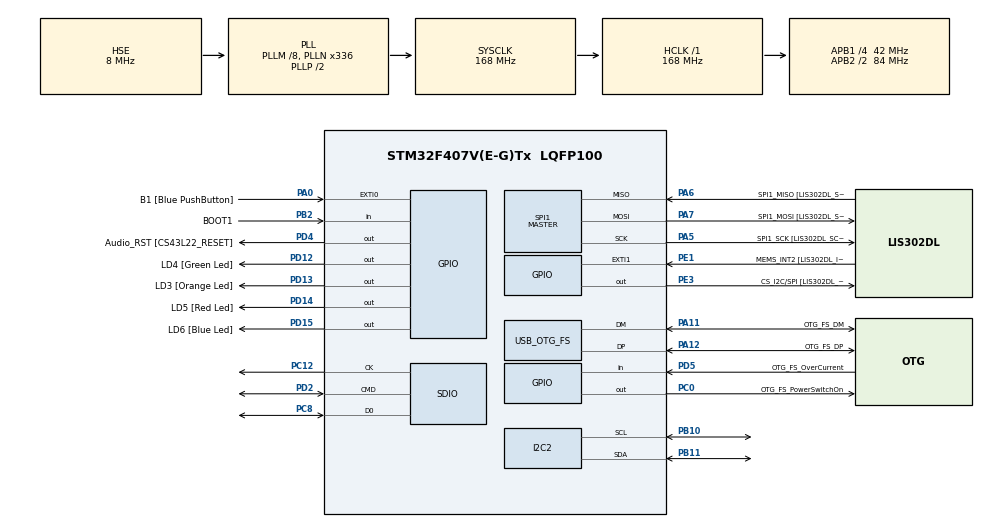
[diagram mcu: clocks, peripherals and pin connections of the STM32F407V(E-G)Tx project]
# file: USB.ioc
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Dma.Request0=SDIO_TX
Dma.Request1=SDIO_RX
Dma.SDIO_RX.1.Direction=DMA_PERIPH_TO_MEMORY
Dma.SDIO_RX.1.FIFOMode=DMA_FIFOMODE_ENABLE
Dma.SDIO_RX.1.FIFOThreshold=DMA_FIFO_THRESHOLD_FULL
Dma.SDIO_RX.1.Instance=DMA2_Stream6
Dma.SDIO_RX.1.MemBurst=DMA_MBURST_INC4
Dma.SDIO_RX.1.MemDataAlignment=DMA_MDATAALIGN_WORD
Dma.SDIO_RX.1.MemInc=DMA_MINC_ENABLE
Dma.SDIO_RX.1.Mode=DMA_PFCTRL
Dma.SDIO_RX.1.PeriphBurst=DMA_PBURST_INC4
Dma.SDIO_RX.1.PeriphDataAlignment=DMA_PDATAALIGN_WORD
Dma.SDIO_RX.1.PeriphInc=DMA_PINC_DISABLE
Dma.SDIO_RX.1.Priority=DMA_PRIORITY_LOW
Dma.SDIO_TX.0.Direction=DMA_MEMORY_TO_PERIPH
Dma.SDIO_TX.0.FIFOMode=DMA_FIFOMODE_ENABLE
Dma.SDIO_TX.0.FIFOThreshold=DMA_FIFO_THRESHOLD_FULL
Dma.SDIO_TX.0.Instance=DMA2_Stream3
Dma.SDIO_TX.0.MemBurst=DMA_MBURST_INC4
Dma.SDIO_TX.0.MemDataAlignment=DMA_MDATAALIGN_WORD
Dma.SDIO_TX.0.MemInc=DMA_MINC_ENABLE
Dma.SDIO_TX.0.Mode=DMA_PFCTRL
Dma.SDIO_TX.0.PeriphBurst=DMA_PBURST_INC4
Dma.SDIO_TX.0.PeriphDataAlignment=DMA_PDATAALIGN_WORD
Dma.SDIO_TX.0.PeriphInc=DMA_PINC_DISABLE
Dma.SDIO_TX.0.Priority=DMA_PRIORITY_LOW
FATFS.BSP.number=1
FATFS._USE_LFN=3
FATFS0.BSP.STBoard=false
FATFS0.BSP.api=Unknown
FATFS0.BSP.instance=PB2
FATFS0.BSP.ip=GPIO
FATFS0.BSP.mode=Input
FATFS0.BSP.name=Detect_SDIO
FATFS0.BSP.solution=PB2
FREERTOS.INCLUDE_eTaskGetState=1
FREERTOS.Tasks01=defaultTask,0,128,StartDefaultTask,Default,NULL,Dynamic,NULL,NULL;Green_LED_Task,0,128,LEDTask_LD4,Default,NULL,Dynamic,NULL,NULL;Blue_LED_Task,0,128,LEDTask_LD6,Default,NULL,Dynamic,NULL,NULL;Red_LED_Task,0,128,LEDTask_LD5,Default,NULL,Dynamic,NULL,NULL;Orange_LED_Task,0,128,LEDTask_LD3,Default,NULL,Dynamic,NULL,NULL;printTask,0,128,printTask_func,Default,NULL,Dynamic,NULL,NULL;eepromTask,0,128,eepromTask_func,Default,NULL,Dynamic,NULL,NULL
FREERTOS.configUSE_NEWLIB_REENTRANT=1
I2C2.I2C_Mode=I2C_Fast
Mcu.Family=STM32F4
Mcu.Name=STM32F407V(E-G)Tx
Mcu.Package=LQFP100
NVIC.DMA2_Stream3_IRQn=true\:5\:0\:false\:false\:true\:true\:false\:true\:true
NVIC.DMA2_Stream6_IRQn=true\:5\:0\:false\:false\:true\:true\:false\:true\:true
NVIC.EXTI0_IRQn=true\:0\:0\:false\:false\:true\:false\:true\:true\:true
NVIC.OTG_FS_IRQn=true\:5\:0\:false\:false\:true\:true\:true\:true\:true
NVIC.PriorityGroup=NVIC_PRIORITYGROUP_4
NVIC.SDIO_IRQn=true\:5\:0\:false\:false\:true\:true\:true\:true\:true
NVIC.TIM1_UP_TIM10_IRQn=true\:15\:0\:false\:false\:true\:false\:false\:true\:true
NVIC.TimeBase=TIM1_UP_TIM10_IRQn
NVIC.TimeBaseIP=TIM1
PA0-WKUP.GPIO_Label=B1 [Blue PushButton]
PA0-WKUP.GPIO_ModeDefaultEXTI=GPIO_MODE_IT_RISING
PA0-WKUP.GPIO_PuPd=GPIO_NOPULL
PA0-WKUP.Signal=GPXTI0
PA10.GPIO_Label=OTG_FS_ID
PA10.GPIO_Mode=GPIO_MODE_AF_PP
PA10.GPIO_PuPd=GPIO_NOPULL
PA10.GPIO_Speed=GPIO_SPEED_FREQ_LOW
PA10.Signal=USB_OTG_FS_ID
PA11.GPIO_Label=OTG_FS_DM
PA11.GPIO_Mode=GPIO_MODE_AF_PP
PA11.GPIO_PuPd=GPIO_NOPULL
PA11.GPIO_Speed=GPIO_SPEED_FREQ_LOW
PA11.Mode=Device_Only
PA11.Signal=USB_OTG_FS_DM
PA12.GPIO_Label=OTG_FS_DP
PA12.GPIO_Mode=GPIO_MODE_AF_PP
PA12.GPIO_PuPd=GPIO_NOPULL
PA12.GPIO_Speed=GPIO_SPEED_FREQ_LOW
PA12.Mode=Device_Only
PA12.Signal=USB_OTG_FS_DP
PA13.GPIO_Label=SWDIO
PA13.Mode=Serial_Wire
PA13.Signal=SYS_JTMS-SWDIO
PA14.GPIO_Label=SWCLK
PA14.Mode=Serial_Wire
PA14.Signal=SYS_JTCK-SWCLK
PA4.GPIO_Label=I2S3_WS [CS43L22_LRCK]
PA4.GPIO_Mode=GPIO_MODE_AF_PP
PA4.GPIO_PuPd=GPIO_NOPULL
PA4.GPIO_Speed=GPIO_SPEED_FREQ_LOW
PA4.Signal=I2S3_WS
PA5.GPIO_Label=SPI1_SCK [LIS302DL_SCL/SPC]
PA5.GPIO_Mode=GPIO_MODE_AF_PP
PA5.GPIO_PuPd=GPIO_NOPULL
PA5.GPIO_Speed=GPIO_SPEED_FREQ_LOW
PA5.Mode=Full_Duplex_Master
PA5.Signal=SPI1_SCK
PA6.GPIO_Label=SPI1_MISO [LIS302DL_SDO]
PA6.GPIO_Mode=GPIO_MODE_AF_PP
PA6.GPIO_PuPd=GPIO_NOPULL
PA6.GPIO_Speed=GPIO_SPEED_FREQ_LOW
PA6.Mode=Full_Duplex_Master
PA6.Signal=SPI1_MISO
PA7.GPIO_Label=SPI1_MOSI [LIS302DL_SDA/SDI/SDO]
PA7.GPIO_Mode=GPIO_MODE_AF_PP
PA7.GPIO_PuPd=GPIO_NOPULL
PA7.GPIO_Speed=GPIO_SPEED_FREQ_LOW
PA7.Mode=Full_Duplex_Master
PA7.Signal=SPI1_MOSI
PA9.GPIO_Label=VBUS_FS
PA9.GPIO_Mode=GPIO_MODE_INPUT
PA9.GPIO_PuPd=GPIO_NOPULL
PA9.Signal=USB_OTG_FS_VBUS
PB10.Mode=I2C
PB10.Signal=I2C2_SCL
PB11.Mode=I2C
PB11.Signal=I2C2_SDA
PB2.GPIO_Label=BOOT1
PB2.GPIO_Mode=GPIO_MODE_INPUT
PB2.GPIO_PuPd=GPIO_NOPULL
PB2.Signal=GPIO_Input
PB3.GPIO_Label=SWO
PB3.Signal=SYS_JTDO-SWO
PB6.GPIO_Label=Audio_SCL [CS43L22_SCL]
PB6.GPIO_Mode=GPIO_MODE_AF_OD
PB6.GPIO_Pu=GPIO_NOPULL
PB6.GPIO_PuPd=GPIO_NOPULL
PB6.GPIO_Speed=GPIO_SPEED_FREQ_LOW
PB6.Signal=I2C1_SCL
PB9.Signal=SDIO_D5
PC0.GPIO_Label=OTG_FS_PowerSwitchOn
PC0.GPIO_PuPd=GPIO_NOPULL
PC0.GPIO_Speed=GPIO_SPEED_FREQ_LOW
PC0.PinState=GPIO_PIN_SET
PC0.Signal=GPIO_Output
PC10.Signal=SDIO_D2
PC12.Mode=SD_1_bit
PC12.Signal=SDIO_CK
PC14-OSC32_IN.GPIO_Label=PC14-OSC32_IN
PC14-OSC32_IN.Signal=RCC_OSC32_IN
PC15-OSC32_OUT.GPIO_Label=PC15-OSC32_OUT
PC15-OSC32_OUT.Signal=RCC_OSC32_OUT
PC3.GPIO_Label=PDM_OUT [MP45DT02_DOUT]
PC3.GPIO_Mode=GPIO_MODE_AF_PP
PC3.GPIO_PuPd=GPIO_NOPULL
PC3.GPIO_Speed=GPIO_SPEED_FREQ_LOW
PC3.Signal=I2S2_SD
PC7.Signal=SDIO_D7
PC8.Mode=SD_1_bit
PC8.Signal=SDIO_D0
PD12.GPIO_Label=LD4 [Green Led]
PD12.GPIO_PuPd=GPIO_NOPULL
PD12.GPIO_Speed=GPIO_SPEED_FREQ_LOW
PD12.Signal=GPIO_Output
PD13.GPIO_Label=LD3 [Orange Led]
PD13.GPIO_PuPd=GPIO_NOPULL
PD13.GPIO_Speed=GPIO_SPEED_FREQ_LOW
PD13.Signal=GPIO_Output
PD14.GPIO_Label=LD5 [Red Led]
PD14.GPIO_PuPd=GPIO_NOPULL
PD14.GPIO_Speed=GPIO_SPEED_FREQ_LOW
PD14.Signal=GPIO_Output
PD15.GPIO_Label=LD6 [Blue Led]
PD15.GPIO_PuPd=GPIO_NOPULL
PD15.GPIO_Speed=GPIO_SPEED_FREQ_LOW
PD15.Signal=GPIO_Output
PD2.Mode=SD_1_bit
PD2.Signal=SDIO_CMD
PD4.GPIO_Label=Audio_RST [CS43L22_RESET]
PD4.GPIO_PuPd=GPIO_NOPULL
PD4.GPIO_Speed=GPIO_SPEED_FREQ_LOW
PD4.Signal=GPIO_Output
PD5.GPIO_Label=OTG_FS_OverCurrent
PD5.GPIO_Mode=GPIO_MODE_INPUT
PD5.GPIO_PuPd=GPIO_NOPULL
PD5.Signal=GPIO_Input
PE1.GPIO_Label=MEMS_INT2 [LIS302DL_INT2]
PE1.GPIO_ModeDefaultEXTI=GPIO_MODE_EVT_RISING
PE1.GPIO_PuPd=GPIO_NOPULL
PE1.Signal=GPXTI1
PE3.GPIO_Label=CS_I2C/SPI [LIS302DL_CS_I2C/SPI]
PE3.GPIO_PuPd=GPIO_NOPULL
PE3.GPIO_Speed=GPIO_SPEED_FREQ_LOW
PE3.Signal=GPIO_Output
PH0-OSC_IN.GPIO_Label=PH0-OSC_IN
PH0-OSC_IN.Mode=HSE-External-Oscillator
PH0-OSC_IN.Signal=RCC_OSC_IN
PH1-OSC_OUT.GPIO_Label=PH1-OSC_OUT
PH1-OSC_OUT.Mode=HSE-External-Oscillator
PH1-OSC_OUT.Signal=RCC_OSC_OUT
ProjectManager.HeapSize=0x200
ProjectManager.StackSize=0x400
ProjectManager.TargetToolchain=STM32CubeIDE
RCC.48MHZClocksFreq_Value=48000000
RCC.AHBFreq_Value=168000000
RCC.APB1CLKDivider=RCC_HCLK_DIV4
RCC.APB1Freq_Value=42000000
RCC.APB1TimFreq_Value=84000000
RCC.APB2CLKDivider=RCC_HCLK_DIV2
RCC.APB2Freq_Value=84000000
RCC.APB2TimFreq_Value=168000000
RCC.CortexFreq_Value=168000000
RCC.HCLKFreq_Value=168000000
RCC.HSE_VALUE=8000000
RCC.HSI_VALUE=16000000
RCC.LSE_VALUE=32768
RCC.PLLM=8
RCC.PLLN=336
RCC.PLLQ=7
RCC.SYSCLKFreq_VALUE=168000000
RCC.SYSCLKSource=RCC_SYSCLKSOURCE_PLLCLK
RCC.VCOOutputFreq_Value=336000000
SPI1.BaudRatePrescaler-Full_Duplex_Master=SPI_BAUDRATEPRESCALER_2
SPI1.CalculateBaudRate-Full_Duplex_Master=42.0 MBits/s
SPI1.Direction=SPI_DIRECTION_2LINES
SPI1.Mode=SPI_MODE_MASTER
SPI1.Mode-Full_Duplex_Master=SPI_MODE_MASTER
SPI1.VirtualType=VM_MASTER
USB_DEVICE.CLASS_NAME_FS=CDC
USB_DEVICE.VirtualMode-CDC_FS=Cdc
USB_DEVICE.VirtualModeFS=Cdc_FS
USB_OTG_FS.VirtualMode=Device_Only
VP_FATFS_VS_SDIO.Mode=SDIO
VP_FREERTOS_VS_CMSIS_V1.Mode=CMSIS_V1
VP_RNG_VS_RNG.Mode=RNG_Activate
VP_SYS_VS_tim1.Mode=TIM1
VP_USB_DEVICE_VS_USB_DEVICE_CDC_FS.Mode=CDC_FS
board=STM32F407G-DISC1

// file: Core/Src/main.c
/* USER CODE BEGIN Header */
/**
  ******************************************************************************
  * @file           : main.c
  * @brief          : Main program body
  ******************************************************************************
  * @attention
  *
  * Copyright (c) 2023 STMicroelectronics.
  * All rights reserved.
  *
  * This software is licensed under terms that can be found in the LICENSE file
  * in the root directory of this software component.
  * If no LICENSE file comes with this software, it is provided AS-IS.
  *
  ******************************************************************************
  */
/* USER CODE END Header */
#include "main.h"
#include "cmsis_os.h"
#include "dma.h"
#include "fatfs.h"
#include "i2c.h"
#include "rng.h"
#include "sdio.h"
#include "spi.h"
#include "usb_device.h"
#include "gpio.h"

/* USER CODE BEGIN Includes */
#include "usbd_cdc_if.h"
#include "MyQueue.h"
/* USER CODE END Includes */

/* USER CODE BEGIN PV */
uint8_t		b1_pushed;
SYS_TIME	m_SysTimer;
/* USER CODE END PV */

void SystemClock_Config(void);
void MX_FREERTOS_Init(void);

int main(void)
{

  /* MCU Configuration--------------------------------------------------------*/

  /* Reset of all peripherals, Initializes the Flash interface and the Systick. */
  HAL_Init();

  /* Configure the system clock */
  SystemClock_Config();

  /* Initialize all configured peripherals */
  MX_GPIO_Init();
  MX_DMA_Init();
  MX_SPI1_Init();
  MX_RNG_Init();
  MX_SDIO_SD_Init();
  MX_FATFS_Init();
  MX_I2C2_Init();

  /* Call init function for freertos objects (in freertos.c) */
  MX_FREERTOS_Init();

  /* Start scheduler */
  osKernelStart();
  /* We should never get here as control is now taken by the scheduler */
  /* Infinite loop */
  while (1)
  {

  }
}

void SystemClock_Config(void)
{
  RCC_OscInitTypeDef RCC_OscInitStruct = {0};
  RCC_ClkInitTypeDef RCC_ClkInitStruct = {0};

  /** Configure the main internal regulator output voltage
  */
  __HAL_RCC_PWR_CLK_ENABLE();
  __HAL_PWR_VOLTAGESCALING_CONFIG(PWR_REGULATOR_VOLTAGE_SCALE1);

  /** Initializes the RCC Oscillators according to the specified parameters
  * in the RCC_OscInitTypeDef structure.
  */
  RCC_OscInitStruct.OscillatorType = RCC_OSCILLATORTYPE_HSE;
  RCC_OscInitStruct.HSEState = RCC_HSE_ON;
  RCC_OscInitStruct.PLL.PLLState = RCC_PLL_ON;
  RCC_OscInitStruct.PLL.PLLSource = RCC_PLLSOURCE_HSE;
  RCC_OscInitStruct.PLL.PLLM = 8;
  RCC_OscInitStruct.PLL.PLLN = 336;
  RCC_OscInitStruct.PLL.PLLP = RCC_PLLP_DIV2;
  RCC_OscInitStruct.PLL.PLLQ = 7;
  if (HAL_RCC_OscConfig(&RCC_OscInitStruct) != HAL_OK)
  {
    Error_Handler();
  }

  /** Initializes the CPU, AHB and APB buses clocks
  */
  RCC_ClkInitStruct.ClockType = RCC_CLOCKTYPE_HCLK|RCC_CLOCKTYPE_SYSCLK
                              |RCC_CLOCKTYPE_PCLK1|RCC_CLOCKTYPE_PCLK2;
  RCC_ClkInitStruct.SYSCLKSource = RCC_SYSCLKSOURCE_PLLCLK;
  RCC_ClkInitStruct.AHBCLKDivider = RCC_SYSCLK_DIV1;
  RCC_ClkInitStruct.APB1CLKDivider = RCC_HCLK_DIV4;
  RCC_ClkInitStruct.APB2CLKDivider = RCC_HCLK_DIV2;

  if (HAL_RCC_ClockConfig(&RCC_ClkInitStruct, FLASH_LATENCY_5) != HAL_OK)
  {
    Error_Handler();
  }
}

/* USER CODE BEGIN 4 */
void HAL_GPIO_EXTI_Callback(uint16_t GPIO_Pin)
{
	if( GPIO_Pin == B1_Pin )
	{
		b1_pushed = 1;
	}
}

void inc_execution_time(SYS_TIME* pTime)
{
	pTime->MSEC++;

	if( pTime->MSEC >= 1000 )
	{
		pTime->MSEC -= 1000;
		pTime->SEC++;
	}

	if( pTime->SEC >= 60 )
	{
		pTime->SEC -= 60;
		pTime->MIN++;
	}

	if( pTime->MIN >= 60 )
	{
		pTime->MIN -= 60;
		pTime->HOUR++;
	}

	if( pTime->HOUR >= 24 )
	{
		pTime->HOUR -= 24;
		pTime->DAY++;
	}
}
/* USER CODE END 4 */

void HAL_TIM_PeriodElapsedCallback(TIM_HandleTypeDef *htim)
{
  if (htim->Instance == TIM1) {
    HAL_IncTick();
  }
  /* USER CODE BEGIN Callback 1 */
  inc_execution_time(&m_SysTimer);
  /* USER CODE END Callback 1 */
}

void Error_Handler(void)
{
  __disable_irq();
  while (1)
  {
  }
}

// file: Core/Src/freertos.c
/* USER CODE BEGIN Header */
/**
  ******************************************************************************
  * File Name          : freertos.c
  * Description        : Code for freertos applications
  ******************************************************************************
  * @attention
  *
  * Copyright (c) 2023 STMicroelectronics.
  * All rights reserved.
  *
  * This software is licensed under terms that can be found in the LICENSE file
  * in the root directory of this software component.
  * If no LICENSE file comes with this software, it is provided AS-IS.
  *
  ******************************************************************************
  */
/* USER CODE END Header */

#include "FreeRTOS.h"
#include "task.h"
#include "main.h"
#include "cmsis_os.h"

/* USER CODE BEGIN Includes */
#include "usbd_cdc_if.h"
#include "i2c.h"
#include "rng.h"
#include "fatfs.h"
/* USER CODE END Includes */

/* USER CODE BEGIN PD */
#define	EEPROM_TEST_DATA_LEN	10
#define I2C_TIMEOUT_VALUE		10
/* USER CODE END PD */

/* USER CODE BEGIN PM */
#define	get_os_random_delay_time(MAX_DELAY)	(HAL_RNG_GetRandomNumber(&hrng)%(MAX_DELAY))
/* USER CODE END PM */

osThreadId defaultTaskHandle;
osThreadId Green_LED_TaskHandle;
osThreadId Blue_LED_TaskHandle;
osThreadId Red_LED_TaskHandle;
osThreadId Orange_LED_TaskHandle;
osThreadId printTaskHandle;
osThreadId eepromTaskHandle;

void StartDefaultTask(void const * argument);
void LEDTask_LD4(void const * argument);
void LEDTask_LD6(void const * argument);
void LEDTask_LD5(void const * argument);
void LEDTask_LD3(void const * argument);
void printTask_func(void const * argument);
void eepromTask_func(void const * argument);

extern void MX_USB_DEVICE_Init(void);
void MX_FREERTOS_Init(void); /* (MISRA C 2004 rule 8.1) */

/* GetIdleTaskMemory prototype (linked to static allocation support) */
void vApplicationGetIdleTaskMemory( StaticTask_t **ppxIdleTaskTCBBuffer, StackType_t **ppxIdleTaskStackBuffer, uint32_t *pulIdleTaskStackSize );

/* USER CODE BEGIN GET_IDLE_TASK_MEMORY */
static StaticTask_t xIdleTaskTCBBuffer;
static StackType_t xIdleStack[configMINIMAL_STACK_SIZE];

void vApplicationGetIdleTaskMemory( StaticTask_t **ppxIdleTaskTCBBuffer, StackType_t **ppxIdleTaskStackBuffer, uint32_t *pulIdleTaskStackSize )
{
  *ppxIdleTaskTCBBuffer = &xIdleTaskTCBBuffer;
  *ppxIdleTaskStackBuffer = &xIdleStack[0];
  *pulIdleTaskStackSize = configMINIMAL_STACK_SIZE;
  /* place for user code */
}
/* USER CODE END GET_IDLE_TASK_MEMORY */

void MX_FREERTOS_Init(void) {

  /* Create the thread(s) */
  /* definition and creation of defaultTask */
  osThreadDef(defaultTask, StartDefaultTask, osPriorityNormal, 0, 128);
  defaultTaskHandle = osThreadCreate(osThread(defaultTask), NULL);

  /* definition and creation of Green_LED_Task */
  osThreadDef(Green_LED_Task, LEDTask_LD4, osPriorityNormal, 0, 128);
  Green_LED_TaskHandle = osThreadCreate(osThread(Green_LED_Task), NULL);

  /* definition and creation of Blue_LED_Task */
  osThreadDef(Blue_LED_Task, LEDTask_LD6, osPriorityNormal, 0, 128);
  Blue_LED_TaskHandle = osThreadCreate(osThread(Blue_LED_Task), NULL);

  /* definition and creation of Red_LED_Task */
  osThreadDef(Red_LED_Task, LEDTask_LD5, osPriorityNormal, 0, 128);
  Red_LED_TaskHandle = osThreadCreate(osThread(Red_LED_Task), NULL);

  /* definition and creation of Orange_LED_Task */
  osThreadDef(Orange_LED_Task, LEDTask_LD3, osPriorityNormal, 0, 128);
  Orange_LED_TaskHandle = osThreadCreate(osThread(Orange_LED_Task), NULL);

  /* definition and creation of printTask */
  osThreadDef(printTask, printTask_func, osPriorityNormal, 0, 128);
  printTaskHandle = osThreadCreate(osThread(printTask), NULL);

  /* definition and creation of eepromTask */
  osThreadDef(eepromTask, eepromTask_func, osPriorityNormal, 0, 128);
  eepromTaskHandle = osThreadCreate(osThread(eepromTask), NULL);

}

void StartDefaultTask(void const * argument)
{
  /* init code for USB_DEVICE */
  MX_USB_DEVICE_Init();
  /* USER CODE BEGIN StartDefaultTask */
  /* Infinite loop */
  for(;;)
  {
	  if( b1_pushed == 1 )
	  {
		  if( osThreadIsSuspended(printTaskHandle) == osOK )
	  	  {
			  osThreadResume(printTaskHandle);
	  	  }

		  b1_pushed = 0;
	  }

	  osDelay(1);
  }
  /* USER CODE END StartDefaultTask */
}

void LEDTask_LD4(void const * argument)
{
  /* USER CODE BEGIN LEDTask_LD4 */
  GPIO_PinState	state;
  /* Infinite loop */
  for(state=GPIO_PIN_SET;;state=(state+1)%2)
  {
	  HAL_GPIO_WritePin(LD4_GPIO_Port,LD4_Pin,state);
	  osDelay(get_os_random_delay_time(1400));
  }
  /* USER CODE END LEDTask_LD4 */
}

void LEDTask_LD6(void const * argument)
{
  /* USER CODE BEGIN LEDTask_LD6 */
  GPIO_PinState	state;
  /* Infinite loop */
  for(state=GPIO_PIN_SET;;state=(state+1)%2)
  {
	  HAL_GPIO_WritePin(LD6_GPIO_Port,LD6_Pin,state);
	  osDelay(get_os_random_delay_time(1600));
  }
  /* USER CODE END LEDTask_LD6 */
}

void LEDTask_LD5(void const * argument)
{
  /* USER CODE BEGIN LEDTask_LD5 */
  GPIO_PinState	state;
  /* Infinite loop */
  for(state=GPIO_PIN_SET;;state=(state+1)%2)
  {
	  HAL_GPIO_WritePin(LD5_GPIO_Port,LD5_Pin,state);
	  osDelay(get_os_random_delay_time(1500));
  }
  /* USER CODE END LEDTask_LD5 */
}

void LEDTask_LD3(void const * argument)
{
  /* USER CODE BEGIN LEDTask_LD3 */
  GPIO_PinState	state;
  /* Infinite loop */
  for(state=GPIO_PIN_SET;;state=(state+1)%2)
  {
	  HAL_GPIO_WritePin(LD3_GPIO_Port,LD3_Pin,state);
	  osDelay(get_os_random_delay_time(1300));
  }
  /* USER CODE END LEDTask_LD3 */
}

void printTask_func(void const * argument)
{
  /* USER CODE BEGIN printTask_func */
  /* Infinite loop */
  osDelay(2000);

  for(int mount=0;;)
  {
    osThreadSuspend(NULL);
    USB_Printf("[%02d:%02d:%02d:%02d.%03d]\n",
    		m_SysTimer.DAY,m_SysTimer.HOUR,m_SysTimer.MIN,m_SysTimer.SEC,m_SysTimer.MSEC);

    if( mount == 0 )
    {
    	if( init_log_file() == FR_OK )
    	{
    		mount = 1;
    	}
    }
    else
    {
    	USB_Printf("%s\n","FATFS has been mounted already.");
    }
  }
  /* USER CODE END printTask_func */
}

/* USER CODE BEGIN Header_eepromTask_func */
/**
* @brief Function implementing the eepromTask thread.
* @param argument: Not used
* @retval None
*/
static uint8_t	write_data[EEPROM_TEST_DATA_LEN];
static uint8_t	read_data[EEPROM_TEST_DATA_LEN];

/* USER CODE END Header_eepromTask_func */
void eepromTask_func(void const * argument)
{
  /* USER CODE BEGIN eepromTask_func */

  /* Infinite loop */
  for(int i=0;;i++)
  {
	memset(write_data,0xFF,EEPROM_TEST_DATA_LEN);
	memset(read_data,0x00,EEPROM_TEST_DATA_LEN);

	for(uint32_t ptr=0;ptr<EEPROM_TEST_DATA_LEN;ptr++)
	{
		write_data[ptr] = HAL_RNG_GetRandomNumber(&hrng)&0xFF;
	}

	if( HAL_I2C_Mem_Write(&hi2c2,0xA0,0x00,I2C_MEMADD_SIZE_8BIT,
			write_data,sizeof(write_data),I2C_TIMEOUT_VALUE) != HAL_OK )
	{
		USB_Printf("%s\n","There is an error while writing eeprom.");
	}

	osDelay(10);

	if( HAL_I2C_Mem_Read(&hi2c2,0xA0,0x00,I2C_MEMADD_SIZE_8BIT,
			read_data,sizeof(read_data),I2C_TIMEOUT_VALUE) != HAL_OK )
	{
		USB_Printf("%s\n","There is an error while reading eeprom.");
	}

	for(uint32_t ptr=0;ptr<EEPROM_TEST_DATA_LEN;ptr++)
	{
		USB_Printf("[%d]0x%02X 0x%02X\n",(int)ptr,
				(unsigned int)write_data[ptr],(unsigned int)read_data[ptr]);
	}

	if( memcmp(write_data,read_data,EEPROM_TEST_DATA_LEN) == 0 )
	{
		USB_Printf("[%05d]EEPROM is OK!!\n",i);
	}
	else
	{
		USB_Printf("[%05d]EEPROM is not OK!!\n",i);
	}

	osDelay(5000);
  }
  /* USER CODE END eepromTask_func */
}
